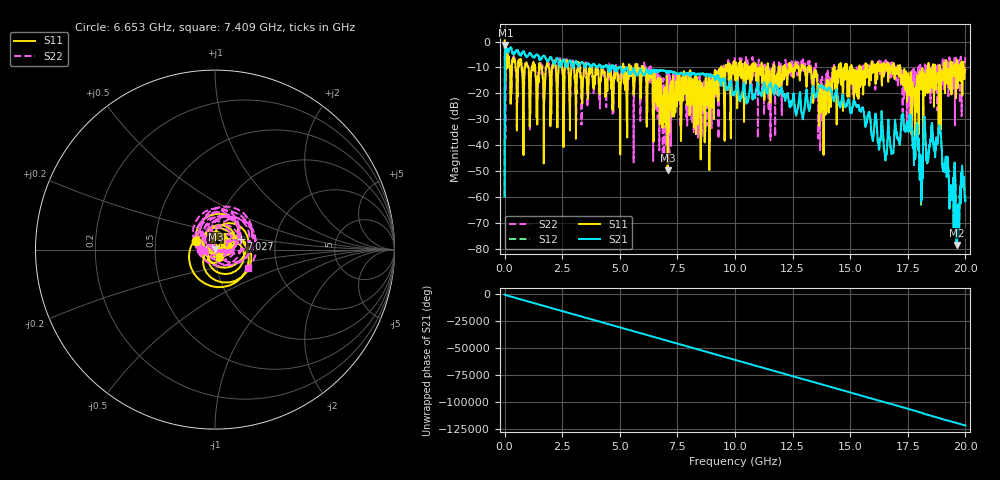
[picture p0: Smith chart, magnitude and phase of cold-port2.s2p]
! MS46122B
! 2250307/22442219
! 2/18/2026 9:23:53 AM
! C:\USERS\SPARKY\DOCUMENTS\VNA_DATA\FEB18_2026\COLD-PORT2.S2P
! CHANNEL.1
! TR.MEASUREMENT
! RAW.DATA
# GHZ S RI R 50.0
! FREQ.GHZ  S11RE  S11IM  S21RE  S21IM  S12RE  S12IM  S22RE  S22IM
!; PortSelection: Port_12
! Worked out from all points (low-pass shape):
!   10001 points, 1 MHz to 20 GHz, reference 50 ohm
!   highest |S21| = -1.31 dB at 33 MHz (marker M1); lowest = -78.5 dB at 19.64 GHz (marker M2)
!   |S21| within 3 dB of the highest: 131.3 MHz to 325.1 MHz (193.8 MHz wide, 84.9 % of centre); 463.9 MHz to 589.4 MHz (125.5 MHz wide, 23.8 % of centre) (the widest 2 of 7)
!   lowest |S11| = -49.8 dB at 7.075 GHz (marker M3), VSWR 1.01, Z = 50.2 + j0.232 ohm
!   |S11| at or under -10 dB: 6.034 GHz to 9.395 GHz (3.361 GHz wide, 43.6 % of centre); 13.24 GHz to 14.31 GHz (1.066 GHz wide, 7.74 % of centre); 17.17 GHz to 18.38 GHz (1.207 GHz wide, 6.79 % of centre) (the widest 3 of 111)
!   |S22| runs from -46.8 to -0.2 dB; largest |S21 - S12| = 0.063
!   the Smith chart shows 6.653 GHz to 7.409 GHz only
!   S11 on the Smith chart (normalised r, x): 6.653 GHz: 0.81, +0.08; 7.027 GHz: 1.32, +0.16; 7.409 GHz: 1.04, -0.09
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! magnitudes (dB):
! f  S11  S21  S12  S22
! 1 MHz  0.4  -59.9  -59.9  -0.2
! 33 MHz  -15.9  -1.3  -1.7  -17.6
! 125 MHz  -4.7  -4.3  -4.3  -4.7
! 3.335 GHz  -19.6  -8.0  -8.0  -32.0
! 5.759 GHz  -9.0  -13.1  -12.9  -9.8
! 6.653 GHz  -18.8  -11.3  -11.3  -21.9
! 6.669 GHz  -13.9  -11.8  -11.9  -12.9
! 7.027 GHz  -16.2  -11.9  -11.9  -14.3
! 7.075 GHz  -49.8  -11.4  -11.3  -24.8
! 7.409 GHz  -26.8  -12.1  -12.1  -13.6
! 8.485 GHz  -22.8  -12.4  -12.6  -35.6
! 10 GHz  -14.9  -20.1  -19.3  -7.0
! 13.33 GHz  -14.0  -19.9  -20.2  -16.1
! 13.82 GHz  -19.3  -17.5  -17.4  -23.3
! 14.55 GHz  -13.8  -25.0  -24.6  -11.9
! 16.67 GHz  -11.2  -33.0  -33.0  -10.8
! 17.56 GHz  -19.6  -29.5  -29.3  -22.8
! 18.06 GHz  -13.8  -49.9  -49.8  -12.8
! 18.22 GHz  -16.5  -29.0  -29.0  -11.2
! 18.86 GHz  -13.9  -33.1  -33.3  -18.0
! 19.64 GHz  -7.3  -78.5  -78.9  -12.3
! 20 GHz  -10.9  -59.9  -60.6  -6.1
